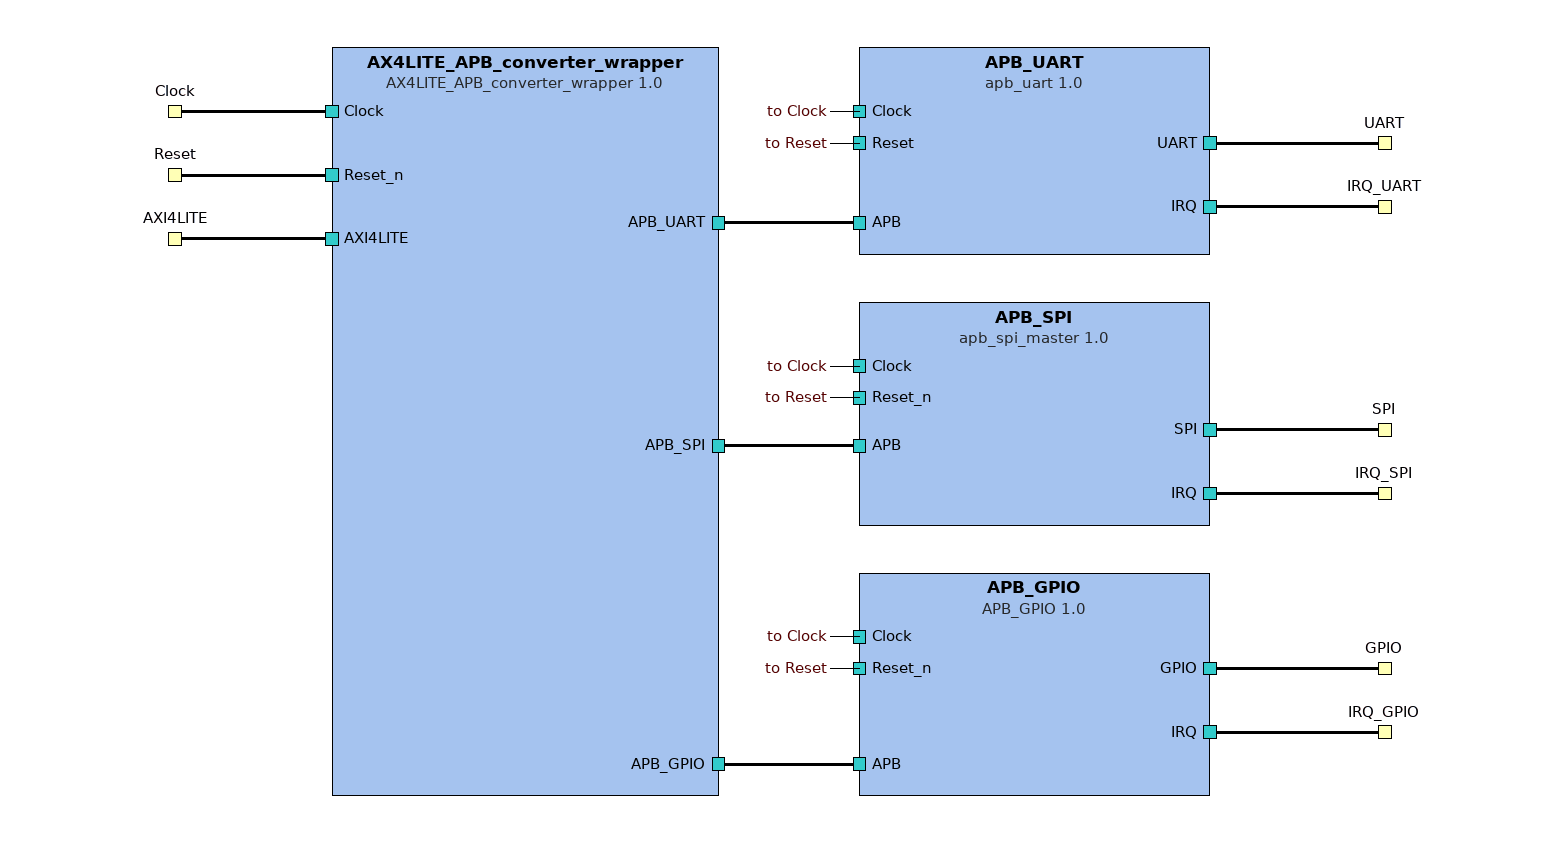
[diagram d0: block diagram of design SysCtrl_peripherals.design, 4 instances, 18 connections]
<?xml version="1.0" encoding="UTF-8"?>
<ipxact:design xmlns:xsi="http://www.w3.org/2001/XMLSchema-instance" xmlns:ipxact="http://www.accellera.org/XMLSchema/IPXACT/1685-2022" xmlns:kactus2="http://kactus2.cs.tut.fi" xsi:schemaLocation="http://www.accellera.org/XMLSchema/IPXACT/1685-2022 http://www.accellera.org/XMLSchema/IPXACT/1685-2022/index.xsd"><ipxact:vendor>tuni.fi</ipxact:vendor><ipxact:library>ip</ipxact:library><ipxact:name>SysCtrl_peripherals.design</ipxact:name>
 <ipxact:version>1.0</ipxact:version><ipxact:componentInstances>
 <ipxact:componentInstance><ipxact:instanceName>APB_UART</ipxact:instanceName><ipxact:componentRef vendor="tuni.fi" library="pulp.peripheral" name="apb_uart" version="1.0"/></ipxact:componentInstance>
 <ipxact:componentInstance><ipxact:instanceName>APB_GPIO</ipxact:instanceName>
  <ipxact:componentRef vendor="tuni.fi" library="pulp.peripheral" name="APB_GPIO" version="1.0">
   <ipxact:configurableElementValues><ipxact:configurableElementValue referenceId="uuid_2c1125d3_ffdc_41a9_95df_91732c2fe246">uuid_4a3460b5_b700_4fb1_833e_2c6da785453c</ipxact:configurableElementValue><ipxact:configurableElementValue referenceId="uuid_c2a3113e_01d5_4bfc_957f_f0be7f1f7f7b">5</ipxact:configurableElementValue><ipxact:configurableElementValue referenceId="uuid_e6870857_1ec0_4f40_bfdf_8e371c082575">uuid_791a9ee3_00c1_4981_ad4c_272baf8eaf2c</ipxact:configurableElementValue>
   </ipxact:configurableElementValues>
  </ipxact:componentRef>
 </ipxact:componentInstance>
 <ipxact:componentInstance><ipxact:instanceName>AX4LITE_APB_converter_wrapper</ipxact:instanceName>
  <ipxact:componentRef vendor="tuni.fi" library="communication" name="AX4LITE_APB_converter_wrapper" version="1.0">
   <ipxact:configurableElementValues><ipxact:configurableElementValue referenceId="uuid_d3dfe8aa_cbb1_4cbe_8177_1192002cd3d8">uuid_e1134b4a_e4c6_4878_ac5b_98e4fa9ad7ef</ipxact:configurableElementValue><ipxact:configurableElementValue referenceId="uuid_c041bc03_27da_4bf3_ab34_b275887ee7ec">uuid_a3a52741_9dfe_4bbf_92ff_7235fc5c195f</ipxact:configurableElementValue><ipxact:configurableElementValue referenceId="uuid_b7cb051d_c93f_4ddf_8905_8a442cd23708">uuid_bfbc6e4b_82d0_4aa0_a1a7_7e52ce7d2592</ipxact:configurableElementValue>
    <ipxact:configurableElementValue referenceId="uuid_9b7b3f2d_6802_439a_9398_412c81301bfc">uuid_a3a52741_9dfe_4bbf_92ff_7235fc5c195f</ipxact:configurableElementValue>
   </ipxact:configurableElementValues>
  </ipxact:componentRef>
 </ipxact:componentInstance>
 <ipxact:componentInstance><ipxact:instanceName>APB_SPI</ipxact:instanceName>
  <ipxact:componentRef vendor="tuni.fi" library="pulp.peripheral" name="apb_spi_master" version="1.0"><ipxact:configurableElementValues><ipxact:configurableElementValue referenceId="uuid_913658b1_cc14_4c98_b032_1b7aa2c4dba0">uuid_791a9ee3_00c1_4981_ad4c_272baf8eaf2c</ipxact:configurableElementValue></ipxact:configurableElementValues></ipxact:componentRef>
 </ipxact:componentInstance>
</ipxact:componentInstances><ipxact:interconnections>
 <ipxact:interconnection><ipxact:name>APB_SPI_SPI_to_SPI</ipxact:name><ipxact:activeInterface componentInstanceRef="APB_SPI" busRef="SPI"/><ipxact:hierInterface busRef="SPI"/></ipxact:interconnection>
 <ipxact:interconnection><ipxact:name>APB_SPI_IRQ_to_IRQ_SPI</ipxact:name><ipxact:activeInterface componentInstanceRef="APB_SPI" busRef="IRQ"/><ipxact:hierInterface busRef="IRQ_SPI"/></ipxact:interconnection>
 <ipxact:interconnection><ipxact:name>APB_SPI_Clock_to_Clock</ipxact:name><ipxact:activeInterface componentInstanceRef="APB_SPI" busRef="Clock"/><ipxact:hierInterface busRef="Clock"/></ipxact:interconnection>
 <ipxact:interconnection><ipxact:name>APB_SPI_Reset_n_to_Reset</ipxact:name><ipxact:activeInterface componentInstanceRef="APB_SPI" busRef="Reset_n"/><ipxact:hierInterface busRef="Reset"/></ipxact:interconnection>
 <ipxact:interconnection><ipxact:name>AX4LITE_APB_converter_wrapper_Clock_to_Clock</ipxact:name><ipxact:activeInterface componentInstanceRef="AX4LITE_APB_converter_wrapper" busRef="Clock"/><ipxact:hierInterface busRef="Clock"/></ipxact:interconnection>
 <ipxact:interconnection><ipxact:name>AX4LITE_APB_converter_wrapper_Reset_n_to_Reset</ipxact:name><ipxact:activeInterface componentInstanceRef="AX4LITE_APB_converter_wrapper" busRef="Reset_n"/><ipxact:hierInterface busRef="Reset"/></ipxact:interconnection>
 <ipxact:interconnection><ipxact:name>AX4LITE_APB_converter_wrapper_APB_SPI_to_APB_SPI_APB</ipxact:name><ipxact:activeInterface componentInstanceRef="AX4LITE_APB_converter_wrapper" busRef="APB_SPI"/><ipxact:activeInterface componentInstanceRef="APB_SPI" busRef="APB"/></ipxact:interconnection>
 <ipxact:interconnection><ipxact:name>APB_GPIO_Clock_to_Clock</ipxact:name><ipxact:activeInterface componentInstanceRef="APB_GPIO" busRef="Clock"/><ipxact:hierInterface busRef="Clock"/></ipxact:interconnection>
 <ipxact:interconnection><ipxact:name>APB_GPIO_Reset_n_to_Reset</ipxact:name><ipxact:activeInterface componentInstanceRef="APB_GPIO" busRef="Reset_n"/><ipxact:hierInterface busRef="Reset"/></ipxact:interconnection>
 <ipxact:interconnection><ipxact:name>AX4LITE_APB_converter_wrapper_APB_GPIO_to_APB_GPIO_APB</ipxact:name><ipxact:activeInterface componentInstanceRef="AX4LITE_APB_converter_wrapper" busRef="APB_GPIO"/><ipxact:activeInterface componentInstanceRef="APB_GPIO" busRef="APB"/></ipxact:interconnection>
 <ipxact:interconnection><ipxact:name>APB_GPIO_GPIO_to_GPIO</ipxact:name><ipxact:activeInterface componentInstanceRef="APB_GPIO" busRef="GPIO"/><ipxact:hierInterface busRef="GPIO"/></ipxact:interconnection>
 <ipxact:interconnection><ipxact:name>APB_GPIO_IRQ_to_IRQ_GPIO</ipxact:name><ipxact:activeInterface componentInstanceRef="APB_GPIO" busRef="IRQ"/><ipxact:hierInterface busRef="IRQ_GPIO"/></ipxact:interconnection>
 <ipxact:interconnection><ipxact:name>AX4LITE_APB_converter_wrapper_AXI4LITE_to_AXI4LITE</ipxact:name><ipxact:activeInterface componentInstanceRef="AX4LITE_APB_converter_wrapper" busRef="AXI4LITE"/><ipxact:hierInterface busRef="AXI4LITE"/></ipxact:interconnection>
 <ipxact:interconnection><ipxact:name>APB_UART_Clock_to_Clock</ipxact:name><ipxact:activeInterface componentInstanceRef="APB_UART" busRef="Clock"/><ipxact:hierInterface busRef="Clock"/></ipxact:interconnection>
 <ipxact:interconnection><ipxact:name>APB_UART_Reset_to_Reset</ipxact:name><ipxact:activeInterface componentInstanceRef="APB_UART" busRef="Reset"/><ipxact:hierInterface busRef="Reset"/></ipxact:interconnection>
 <ipxact:interconnection><ipxact:name>AX4LITE_APB_converter_wrapper_APB_UART_to_APB_UART_APB</ipxact:name><ipxact:activeInterface componentInstanceRef="AX4LITE_APB_converter_wrapper" busRef="APB_UART"/><ipxact:activeInterface componentInstanceRef="APB_UART" busRef="APB"/></ipxact:interconnection>
 <ipxact:interconnection><ipxact:name>APB_UART_UART_to_UART</ipxact:name><ipxact:activeInterface componentInstanceRef="APB_UART" busRef="UART"/><ipxact:hierInterface busRef="UART"/></ipxact:interconnection>
 <ipxact:interconnection><ipxact:name>APB_UART_IRQ_to_IRQ_UART</ipxact:name><ipxact:activeInterface componentInstanceRef="APB_UART" busRef="IRQ"/><ipxact:hierInterface busRef="IRQ_UART"/></ipxact:interconnection>
</ipxact:interconnections><ipxact:parameters>
 <ipxact:parameter kactus2:usageCount="1" parameterId="uuid_e1134b4a_e4c6_4878_ac5b_98e4fa9ad7ef" resolve="user"><ipxact:name>AXI4LITE_DW</ipxact:name><ipxact:value>32</ipxact:value></ipxact:parameter>
 <ipxact:parameter kactus2:usageCount="2" parameterId="uuid_a3a52741_9dfe_4bbf_92ff_7235fc5c195f" resolve="user"><ipxact:name>AXI4LITE_AW</ipxact:name><ipxact:value>32</ipxact:value></ipxact:parameter>
 <ipxact:parameter kactus2:usageCount="1" parameterId="uuid_bfbc6e4b_82d0_4aa0_a1a7_7e52ce7d2592" resolve="user"><ipxact:name>APB_DW</ipxact:name><ipxact:value>32</ipxact:value></ipxact:parameter>
 <ipxact:parameter kactus2:usageCount="2" parameterId="uuid_791a9ee3_00c1_4981_ad4c_272baf8eaf2c" resolve="user"><ipxact:name>APB_AW</ipxact:name><ipxact:value>12</ipxact:value></ipxact:parameter>
 <ipxact:parameter parameterId="uuid_4a3460b5_b700_4fb1_833e_2c6da785453c" resolve="user"><ipxact:name>NUM_GPIO</ipxact:name><ipxact:value>6</ipxact:value></ipxact:parameter>
</ipxact:parameters></ipxact:design>
<!-- note: Converter acts like hierarchical XBAR. It passes APB target memory maps to controller XBAR. -->
<!-- note: APB address is sliced to target modules. -->

